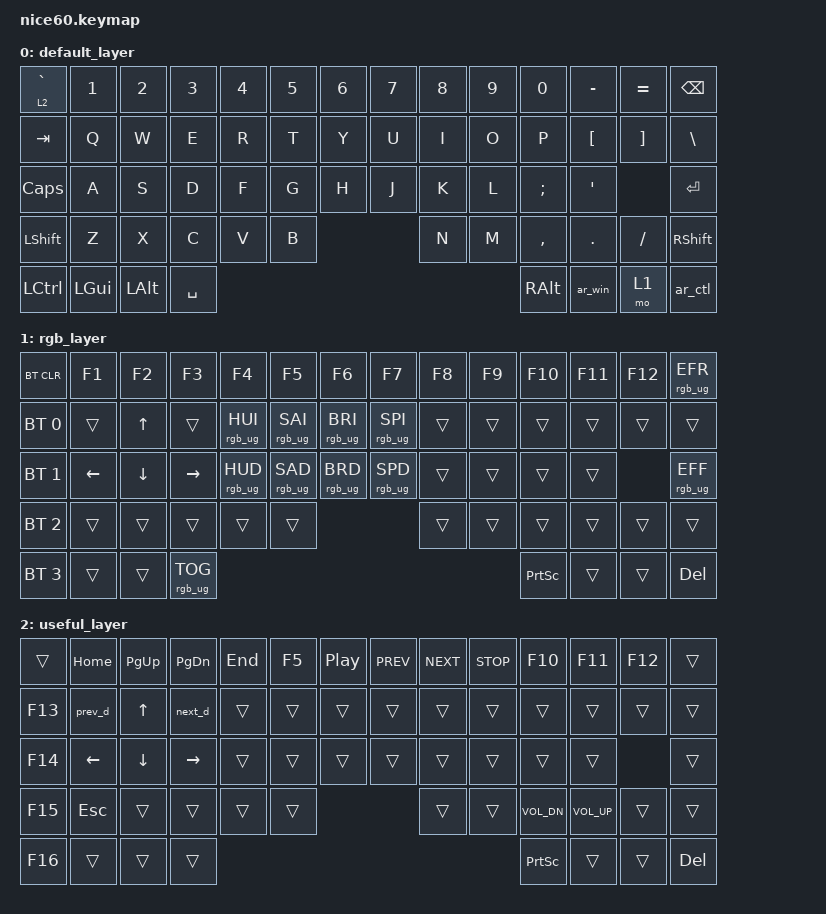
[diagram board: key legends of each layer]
/*
 * Copyright (c) 2021 Nick Winans
 *
 * SPDX-License-Identifier: MIT
 */

#include <behaviors.dtsi>
#include <dt-bindings/zmk/keys.h>
#include <dt-bindings/zmk/rgb.h>
#include <dt-bindings/zmk/bt.h>
#include <dt-bindings/zmk/outputs.h>
#include <dt-bindings/zmk/reset.h>
#include <dt-bindings/zmk/ext_power.h>

/ {

	macros {
        next_d: next_d {
            label = "next_desktop";
            compatible = "zmk,behavior-macro";
            #binding-cells = <0>;
            bindings
                = <&macro_press &kp LCTRL>
                , <&macro_press &kp LALT>
                , <&macro_tap &kp RIGHT>
                , <&macro_release &kp LCTRL>
                , <&macro_release &kp LALT>
                ;
        };
        prev_d: prev_d {
            label = "previous_desktop";
            compatible = "zmk,behavior-macro";
            #binding-cells = <0>;
            bindings
                = <&macro_press &kp LCTRL>
                , <&macro_press &kp LALT>
                , <&macro_tap &kp LEFT>
                , <&macro_release &kp LCTRL>
                , <&macro_release &kp LALT>
                ;
        };
    };
	behaviors {
		ar_ctl: arrow_control {
			compatible = "zmk,behavior-mod-morph";
			label = "ARROW_CONTROL";
			#binding-cells = <0>;
			bindings = <&kp RCTRL>, <&kp RIGHT>;
			mods = <(MOD_LSFT|MOD_LALT)>;
        };
		ar_win: arrow_winkey {
			compatible = "zmk,behavior-mod-morph";
			label = "ARROW_WINKEY";
			#binding-cells = <0>;
			bindings = <&kp RGUI>, <&kp LEFT>;
			mods = <(MOD_LSFT|MOD_LALT)>;
        };
    };
	keymap {
		compatible = "zmk,keymap";
		
		default_layer {
// ------------------------------------------------------------------------------------------
// | MO(2) |  1  |  2  |  3  |  4  |  5  |  6  |  7  |  8  |  9  |  0  |  -  |  =  |   BKSP  |
// |  TAB  |  Q  |  W  |  E  |  R  |  T  |  Y  |  U  |  I  |  O  |  P  |  [  |  ]  |   "|"   |
// |  CAPS  |  A  |  S  |  D  |  F  |  G  |  H  |  J  |  K  |  L  |  ;  |  '  |     ENTER    |
// |   SHIFT  |  Z  |  X  |  C  |  V  |  B  |  N  |  M  |  ,  |  .  |  /  |      SHIFT       |
// |   CTL  |  WIN  |  ALT  |            SPACE              |  ALT  |  WIN  |  MO(1) |  CTL  |
// ------------------------------------------------------------------------------------------
			bindings = <
	&lt 2 GRAVE	&kp N1 &kp N2 &kp N3 &kp N4 &kp N5 &kp N6 &kp N7 &kp N8 &kp N9 &kp N0 &kp MINUS &kp EQUAL  &kp BSPC
	&kp TAB		&kp Q  &kp W  &kp E  &kp R  &kp T  &kp Y  &kp U  &kp I  &kp O  &kp P  &kp LBKT  &kp RBKT  &kp BSLH
	&kp CLCK	&kp A  &kp S  &kp D  &kp F  &kp G  &kp H  &kp J  &kp K  &kp L  &kp SEMI &kp SQT           &kp RET
	&kp LSHFT	&kp Z  &kp X  &kp C  &kp V  &kp B  &kp N  &kp M  &kp COMMA &kp DOT &kp FSLH           &kp RSHFT
	&kp LCTRL	&kp LGUI &kp LALT             &kp SPACE                     &kp RALT  &ar_win  &mo 1   &ar_ctl
			>;
		};

		rgb_layer {
// ------------------------------------------------------------------------------------------------
// | BT CLR | F1  | F2  | F3  | F4  | F5  | F6  | F7  | F8  | F9  | F10  | F11 | F12 | EFFECT REV |
// |  BT 1   |   |  UP |   | HUEUP | SATUP | BRIUP | SPDUP |   |     |    |     |     |           |
// |   BT 2   | LT |  DN  | RT | HUEDN | SATDN | BRIDN | SPDDN |   |     |   |     |  EFFECT FORW |
// |    BT 3     |     |      |      |     |     |     |     |     |     |     |                  |
// |   BT 4  |      |      |             TOG RGB                | PRT SCR |       |       |  DEL  |
// ------------------------------------------------------------------------------------------------
			bindings = <
	&bt BT_CLR   &kp F1    &kp F2    &kp F3  &kp F4           &kp F5          &kp F6          &kp F7          &kp F8   &kp F9   &kp F10  &kp F11 &kp F12  &rgb_ug RGB_EFR
	&bt BT_SEL 0  &trans    &kp UP    &trans  &rgb_ug RGB_HUI  &rgb_ug RGB_SAI &rgb_ug RGB_BRI &rgb_ug RGB_SPI  &trans   &trans   &trans   &trans  &trans          &trans 
	&bt BT_SEL 1   &kp LEFT  &kp DOWN  &kp RIGHT &rgb_ug RGB_HUD &rgb_ug RGB_SAD &rgb_ug RGB_BRD &rgb_ug RGB_SPD &trans   &trans   &trans   &trans        &rgb_ug RGB_EFF
	&bt BT_SEL 2    &trans    &trans    &trans   &trans          &trans          &trans          &trans          &trans   &trans   &trans                          &trans
	&bt BT_SEL 3  &trans   &trans                            &rgb_ug RGB_TOG                                      &kp PSCRN      &trans      &trans               &kp DEL
			>;
		};

		useful_layer {
// ------------------------------------------------------------------------------------------------
// | BT CLR | Home  | PgUp  | PgDn  | End | F5  | PP  | NX  | PR  | ST  | F10  | F11 | F12 | EFFECT REV |
// |  F13   | PrevD |  UP | NxtD |     |     |     |     |   |     |    |     |     |           |
// |   F14   | LT |  DN  | RT | HUEDN | SATDN | BRIDN | SPDDN |   |     |   |     |  EFFECT FORW |
// |    F15   |  ESC  |      |      |     |     |     |     |  VD | VU  |     |                  |
// |   F16  |      |      |             TOG RGB                | PRT SCR |       |       |  DEL  |
// ------------------------------------------------------------------------------------------------
			bindings = <
	&trans   &kp HOME    &kp PG_UP    &kp PG_DN  &kp END           &kp F5          &kp C_PP          &kp C_PREV          &kp C_NEXT   &kp C_STOP   &kp F10  &kp F11 &kp F12  &trans
	&kp F13  &prev_d    &kp UP    &next_d  &trans  &trans &trans &trans  &trans   &trans   &trans   &trans  &trans          &trans
	&kp F14   &kp LEFT  &kp DOWN  &kp RIGHT &trans &trans &trans &trans &trans   &trans   &trans   &trans        &trans
	&kp F15    &kp ESC    &trans    &trans   &trans          &trans          &trans          &trans          &kp C_VOL_DN   &kp C_VOL_UP   &trans                          &trans
	&kp F16  &trans   &trans                            &trans                                      &kp PSCRN      &trans      &trans               &kp DEL
			>;
		};
	};
};
